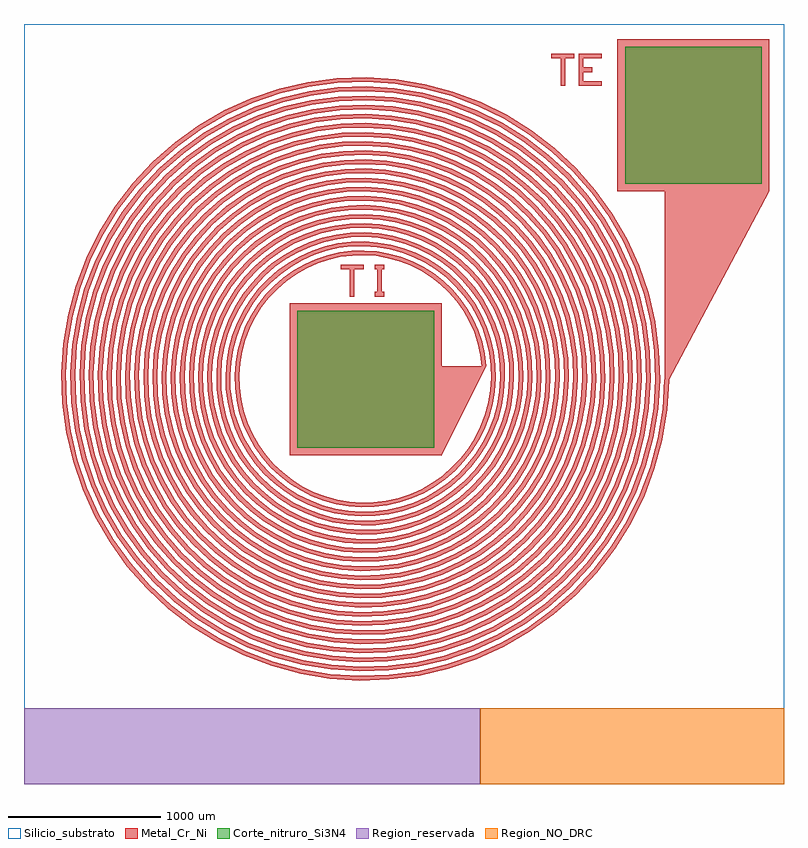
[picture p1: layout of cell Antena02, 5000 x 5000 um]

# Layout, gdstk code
from math import pi, radians
import gdstk
lib = gdstk.Library(unit=1e-6, precision=1e-06)
def R(c, l, rs):  # rectangles x0, y0, x1, y1
    for r in rs: c.add(gdstk.rectangle(r[:2], r[2:], *l))
def P(c, l, *ps):  # polygons
    for p in ps: c.add(gdstk.Polygon(p, *l))
Silicio_substrato = (1, 1)
Region_reservada = (1, 2)
Region_NO_DRC = (1, 3)
Metal_Cr_Ni = (2, 0)
Corte_nitruro_Si3N4 = (3, 0)

spiral_1 = lib.new_cell('Spiral$1')
spiral_1.add(gdstk.FlexPath([(800,0),(797,79),(786,156),(768,233),(743,308),(710,379),(670,448),(623,512),(571,571),(513,625),(450,673),(382,715),(310,749),(236,777),(159,798),(80,810),(0,815),(-80,812),(-159,801),(-237,783),(-313,756),(-386,723),(-456,682),(-521,635),(-582,582),(-637,522),(-685,458),(-728,389),(-763,316),(-792,240),(-812,162),(-825,81),(-830,0),(-827,-81),(-816,-162),(-797,-242),(-770,-319),(-736,-393),(-695,-464),(-647,-531),(-592,-592),(-532,-648),(-466,-698),(-396,-741),(-322,-777),(-244,-806),(-164,-827),(-83,-840),(0,-845),(83,-842),(165,-831),(246,-811),(325,-784),(401,-749),(473,-707),(540,-658),(603,-603),(660,-541),(710,-475),(754,-403),(791,-328),(820,-249),(842,-167),(855,-84),(860,0),(857,84),(845,168),(826,250),(798,331),(763,408),(720,481),(670,550),(613,613),(551,671),(483,723),(410,768),(333,805),(253,835),(170,856),(86,870),(0,875),(-86,872),(-171,860),(-255,840),(-336,812),(-415,776),(-489,732),(-559,681),(-624,624),(-683,560),(-735,491),(-781,417),(-819,339),(-849,258),(-871,173),(-885,87),(-890,0),(-887,-87),(-875,-174),(-854,-259),(-826,-342),(-789,-422),(-745,-498),(-693,-569),(-635,-635),(-570,-695),(-500,-748),(-424,-794),(-345,-833),(-262,-863),(-176,-886),(-89,-900),(0,-905),(89,-902),(177,-889),(264,-869),(348,-840),(429,-802),(506,-757),(578,-705),(645,-645),(706,-579),(760,-508),(807,-431),(847,-351),(878,-266),(900,-179),(915,-90),(920,0),(917,90),(904,180),(883,268),(853,354),(816,436),(770,514),(716,588),(656,656),(589,718),(516,773),(439,820),(356,860),(271,892),(182,915),(92,930),(0,935),(-92,931),(-183,919),(-272,897),(-359,867),(-443,829),(-523,782),(-597,728),(-666,666),(-729,599),(-785,525),(-834,446),(-874,362),(-906,275),(-930,185),(-944,93),(-950,0),(-946,-93),(-934,-186),(-912,-277),(-881,-365),(-842,-450),(-795,-531),(-739,-607),(-677,-677),(-608,-741),(-533,-798),(-453,-847),(-368,-888),(-279,-921),(-188,-945),(-94,-959),(0,-965),(95,-961),(189,-948),(281,-926),(371,-895),(457,-855),(539,-807),(616,-751),(688,-688),(752,-618),(810,-541),(860,-460),(902,-374),(935,-284),(959,-191),(974,-96),(980,0),(976,96),(963,192),(940,285),(909,376),(868,464),(820,548),(763,626),(698,698),(627,764),(550,823),(467,873),(379,916),(288,949),(194,974),(97,989),(0,995),(-98,991),(-194,978),(-290,955),(-382,923),(-471,882),(-556,832),(-635,774),(-709,709),(-776,637),(-835,558),(-887,474),(-930,385),(-964,292),(-989,197),(-1004,99),(-1010,0),(-1006,-99),(-992,-197),(-969,-294),(-937,-388),(-895,-478),(-844,-564),(-786,-645),(-719,-719),(-646,-787),(-566,-848),(-481,-900),(-391,-944),(-297,-978),(-200,-1003),(-100,-1019),(0,-1025),(101,-1021),(200,-1007),(298,-984),(394,-950),(485,-908),(573,-857),(654,-797),(730,-730),(799,-656),(860,-575),(913,-488),(957,-397),(993,-301),(1018,-203),(1034,-102),(1040,0),(1036,102),(1022,203),(998,303),(964,399),(921,492),(869,581),(809,664),(741,741),(665,810),(583,873),(495,926),(402,971),(305,1007),(205,1033),(103,1049),(0,1055),(-104,1051),(-206,1037),(-307,1012),(-405,978),(-500,935),(-589,882),(-673,821),(-751,751),(-822,675),(-885,591),(-940,502),(-985,408),(-1021,310),(-1048,208),(-1064,105),(-1070,0),(-1066,-105),(-1051,-209),(-1027,-311),(-992,-411),(-948,-507),(-894,-598),(-832,-683),(-762,-762),(-684,-834),(-600,-897),(-509,-953),(-414,-999),(-314,-1036),(-211,-1062),(-106,-1079),(0,-1085),(106,-1081),(212,-1066),(316,-1041),(417,-1006),(514,-961),(606,-907),(692,-844),(773,-773),(845,-694),(910,-608),(966,-516),(1013,-420),(1050,-318),(1077,-214),(1094,-108),(1100,0),(1096,108),(1081,215),(1055,320),(1020,422),(974,521),(919,614),(855,702),(783,783),(703,857),(616,922),(523,979),(425,1027),(323,1064),(217,1092),(109,1109),(0,1115),(-109,1111),(-218,1095),(-324,1070),(-428,1034),(-528,987),(-623,932),(-712,867),(-794,794),(-868,713),(-935,625),(-992,530),(-1041,431),(-1079,327),(-1106,220),(-1124,111),(-1130,0),(-1125,-111),(-1110,-221),(-1084,-329),(-1047,-434),(-1001,-535),(-944,-631),(-879,-721),(-804,-804),(-722,-880),(-633,-947),(-538,-1006),(-437,-1054),(-332,-1093),(-223,-1121),(-112,-1139),(0,-1145),(112,-1140),(224,-1125),(333,-1098),(440,-1061),(542,-1014),(639,-957),(731,-890),(815,-815),(892,-732),(960,-641),(1019,-545),(1068,-442),(1107,-336),(1136,-226),(1153,-114),(1160,0),(1155,114),(1140,227),(1113,338),(1075,445),(1027,549),(969,648),(902,740),(826,826),(741,903),(650,972),(552,1032),(448,1082),(340,1122),(229,1151),(115,1168),(0,1175),(-115,1170),(-230,1154),(-342,1127),(-451,1089),(-556,1040),(-656,982),(-750,913),(-836,836),(-915,751),(-985,658),(-1045,559),(-1096,454),(-1136,345),(-1165,232),(-1183,117),(-1190,0),(-1185,-117),(-1169,-233),(-1141,-346),(-1103,-457),(-1054,-563),(-994,-664),(-925,-759),(-847,-847),(-760,-926),(-666,-997),(-566,-1059),(-460,-1110),(-349,-1150),(-235,-1180),(-118,-1198),(0,-1205),(118,-1200),(235,-1184),(351,-1156),(463,-1117),(570,-1067),(673,-1007),(769,-937),(857,-857),(938,-770),(1010,-675),(1072,-573),(1124,-465),(1165,-353),(1195,-238),(1213,-119),(1220,0),(1215,120),(1198,238),(1170,355),(1131,468),(1080,577),(1019,681),(948,778),(868,868),(779,950),(683,1022),(580,1085),(471,1138),(358,1179),(241,1209),(121,1228),(0,1235),(-121,1230),(-241,1213),(-359,1185),(-474,1144),(-584,1093),(-689,1032),(-788,960),(-879,879),(-961,789),(-1035,691),(-1098,587),(-1151,477),(-1193,362),(-1224,243),(-1243,122),(-1250,0),(-1245,-123),(-1228,-244),(-1199,-364),(-1158,-480),(-1107,-591),(-1044,-698),(-971,-797),(-889,-889),(-798,-973),(-700,-1047),(-594,-1111),(-483,-1165),(-366,-1208),(-246,-1239),(-124,-1258),(0,-1265),(124,-1260),(247,-1243),(368,-1213),(486,-1172),(599,-1120),(706,-1056),(807,-983),(900,-900),(984,-808),(1060,-708),(1125,-601),(1179,-488),(1222,-371),(1254,-249),(1273,-125),(1280,0),(1275,126),(1257,250),(1228,372),(1186,491),(1133,606),(1069,714),(995,816),(910,910),(817,996),(716,1072),(608,1138),(494,1193),(375,1237),(252,1268),(127,1288),(0,1295),(-127,1290),(-253,1272),(-377,1242),(-497,1200),(-613,1146),(-723,1081),(-826,1006),(-921,921),(-1008,827),(-1085,725),(-1151,615),(-1207,500),(-1251,379),(-1283,255),(-1303,128),(-1310,0),(-1305,-128),(-1287,-256),(-1256,-381),(-1214,-503),(-1159,-620),(-1094,-731),(-1018,-835),(-932,-932),(-836,-1019),(-733,-1097),(-622,-1164),(-506,-1221),(-384,-1265),(-258,-1298),(-130,-1318),(0,-1325),(130,-1320),(259,-1301),(385,-1271),(508,-1228),(627,-1173),(739,-1106),(845,-1029),(942,-942),(1031,-846),(1109,-741),(1178,-629),(1235,-511),(1280,-388),(1312,-261),(1333,-131),(1340,0),(1334,131),(1316,262),(1285,390),(1241,514),(1186,634),(1119,748),(1041,854),(953,953),(855,1042),(750,1122),(637,1191),(517,1248),(393,1294),(264,1327),(133,1348),(0,1355),(-133,1349),(-265,1331),(-394,1299),(-520,1255),(-641,1199),(-756,1131),(-864,1053),(-963,963),(-1054,865),(-1134,758),(-1204,644),(-1262,523),(-1308,397),(-1342,267),(-1362,134),(-1370,0),(-1364,-134),(-1346,-268),(-1314,-399),(-1269,-526),(-1212,-648),(-1144,-764),(-1064,-873),(-974,-974),(-874,-1066),(-766,-1147),(-651,-1217),(-529,-1276),(-401,-1323),(-270,-1357),(-136,-1377),(0,-1385),(136,-1379),(271,-1360),(403,-1328),(531,-1283),(655,-1226),(773,-1156),(883,-1076),(985,-985),(1077,-884),(1159,-775),(1231,-658),(1290,-534),(1337,-406),(1371,-273),(1392,-137),(1400,0),(1394,137),(1375,273),(1342,407),(1297,537),(1239,662),(1169,781),(1087,892),(995,995),(894,1089),(783,1172),(665,1244),(540,1304),(410,1351),(276,1386),(139,1407),(0,1415),(-139,1409),(-276,1390),(-412,1357),(-543,1311),(-669,1252),(-789,1181),(-902,1099),(-1006,1006),(-1100,903),(-1184,791),(-1257,672),(-1318,546),(-1366,414),(-1401,279),(-1422,140),(-1430,0),(-1424,-140),(-1404,-279),(-1371,-416),(-1325,-549),(-1265,-676),(-1194,-798),(-1110,-911),(-1016,-1016),(-913,-1112),(-800,-1197),(-679,-1270),(-552,-1332),(-419,-1380),(-282,-1415),(-142,-1437),(0,-1445),(142,-1439),(282,-1419),(420,-1385),(554,-1338),(683,-1279),(806,-1206),(921,-1122),(1027,-1027),(1124,-922),(1209,-808),(1283,-686),(1345,-557),(1394,-423),(1430,-284),(1452,-143),(1460,0),(1454,143),(1434,285),(1400,425),(1352,560),(1292,690),(1219,814),(1134,930),(1038,1038),(932,1135),(816,1222),(693,1297),(563,1359),(427,1409),(287,1445),(144,1467),(0,1475),(-145,1469),(-288,1448),(-429,1414),(-566,1366),(-698,1305),(-823,1231),(-940,1145),(-1048,1048),(-1147,941),(-1234,825),(-1310,700),(-1373,569),(-1423,432),(-1460,290),(-1482,146),(-1490,0),(-1484,-146),(-1463,-291),(-1429,-433),(-1380,-572),(-1318,-705),(-1244,-831),(-1157,-949),(-1059,-1059),(-951,-1158),(-833,-1247),(-707,-1323),(-575,-1387),(-436,-1438),(-293,-1474),(-147,-1497),(0,-1505),(148,-1499),(294,-1478),(438,-1443),(577,-1394),(712,-1331),(839,-1256),(959,-1168),(1069,-1069),(1170,-960),(1259,-841),(1336,-714),(1401,-580),(1452,-440),(1489,-296),(1512,-149),(1520,0),(1514,149),(1493,297),(1457,442),(1408,583),(1345,719),(1269,848),(1180,968),(1080,1080),(970,1181),(850,1272),(721,1350),(586,1415),(445,1466),(299,1504),(150,1527),(0,1535),(-151,1529),(-300,1507),(-446,1472),(-589,1422),(-726,1358),(-856,1281),(-978,1192),(-1091,1091),(-1193,979),(-1284,858),(-1363,728),(-1429,592),(-1481,449),(-1518,302),(-1542,152),(-1550,0),(-1543,-152),(-1522,-303),(-1486,-451),(-1435,-595),(-1371,-733),(-1293,-864),(-1203,-987),(-1101,-1101),(-989,-1205),(-866,-1297),(-736,-1376),(-597,-1442),(-453,-1495),(-305,-1533),(-153,-1557),(0,-1565),(153,-1558),(306,-1537),(455,-1500),(600,-1449),(740,-1384),(873,-1306),(997,-1215),(1112,-1112),(1216,-998),(1309,-875),(1389,-743),(1456,-603),(1509,-458),(1548,-308),(1571,-155),(1580,0),(1573,155),(1551,309),(1515,459),(1463,606),(1398,747),(1318,881),(1226,1007),(1123,1123),(1008,1228),(883,1322),(750,1403),(609,1470),(462,1524),(311,1563),(156,1586),(0,1595),(-156,1588),(-312,1566),(-464,1529),(-612,1477),(-754,1411),(-889,1331),(-1016,1238),(-1133,1133),(-1239,1017),(-1334,891),(-1416,757),(-1484,615),(-1538,467),(-1577,314),(-1601,158),(-1610,0),(-1603,-158),(-1581,-314),(-1543,-468),(-1491,-618),(-1424,-761),(-1343,-898),(-1250,-1026),(-1144,-1144),(-1027,-1251),(-900,-1346),(-764,-1429),(-620,-1498),(-471,-1552),(-317,-1592),(-159,-1616),(0,-1625),(159,-1618),(317,-1596),(473,-1558),(623,-1505),(768,-1437),(906,-1356),(1035,-1261),(1154,-1154),(1263,-1036),(1359,-908),(1442,-771),(1512,-626),(1567,-475),(1607,-320),(1631,-161),(1640,0),(1633,161),(1610,320),(1572,477),(1519,629),(1450,775),(1368,914),(1273,1045),(1165,1165),(1046,1274),(916,1371),(778,1455),(632,1526),(480,1581),(323,1621),(162,1646),(0,1655),(-162,1648),(-323,1625),(-481,1586),(-635,1532),(-782,1464),(-923,1381),(-1054,1284),(-1176,1176),(-1286,1055),(-1384,925),(-1469,785),(-1539,638),(-1595,484),(-1636,325),(-1661,164),(-1670,0),(-1663,-164),(-1640,-326),(-1601,-486),(-1546,-641),(-1477,-789),(-1393,-931),(-1296,-1064),(-1186,-1186),(-1065,-1297),(-933,-1396),(-792,-1482),(-643,-1553),(-488,-1610),(-328,-1651),(-165,-1676),(0,-1685),(165,-1678),(329,-1654),(490,-1615),(646,-1560),(797,-1490),(939,-1406),(1073,-1308),(1197,-1197),(1309,-1074),(1409,-941),(1495,-799),(1567,-649),(1624,-493),(1665,-331),(1691,-167),(1700,0),(1693,167),(1669,332),(1629,494),(1574,652),(1503,804),(1418,948),(1319,1083),(1207,1207),(1084,1321),(950,1421),(806,1508),(655,1581),(497,1638),(334,1680),(168,1706),(0,1715),(-168,1708),(-335,1684),(-499,1644),(-658,1588),(-811,1517),(-956,1431),(-1092,1331),(-1218,1218),(-1332,1093),(-1434,958),(-1522,813),(-1595,661),(-1653,501),(-1695,337),(-1721,169),(-1730,0),(-1723,-170),(-1699,-338),(-1658,-503),(-1602,-663),(-1530,-818),(-1443,-964),(-1342,-1102),(-1229,-1229),(-1103,-1344),(-966,-1446),(-820,-1535),(-666,-1609),(-506,-1667),(-340,-1710),(-171,-1736),(0,-1745),(171,-1738),(341,-1713),(507,-1673),(669,-1616),(825,-1543),(973,-1456),(1111,-1354),(1239,-1239),(1355,-1112),(1459,-975),(1548,-827),(1623,-672),(1682,-510),(1724,-343),(1751,-172),(1760,0),(1752,173),(1728,344),(1687,512),(1629,675),(1556,832),(1468,981),(1366,1121),(1250,1250),(1122,1367),(983,1471),(835,1561),(678,1636),(514,1696),(346,1739),(174,1766),(0,1775),(-174,1767),(-347,1743),(-516,1701),(-681,1643),(-839,1570),(-989,1481),(-1130,1377),(-1260,1260),(-1379,1131),(-1484,991),(-1575,842),(-1650,684),(-1710,519),(-1754,349),(-1780,175),(-1790,0),(-1782,-176),(-1757,-350),(-1716,-520),(-1657,-686),(-1583,-846),(-1493,-998),(-1389,-1140),(-1271,-1271),(-1141,-1390),(-1000,-1496),(-849,-1588),(-689,-1664),(-523,-1725),(-352,-1768),(-177,-1795),(0,-1805),(177,-1797),(353,-1772),(525,-1730),(692,-1671),(853,-1596),(1006,-1505),(1149,-1400),(1282,-1282),(1402,-1150),(1509,-1008),(1601,-856),(1678,-695),(1739,-528),(1783,-355),(1810,-178),(1820,0),(1812,178),(1787,355),(1744,529),(1685,698),(1609,860),(1518,1014),(1412,1159),(1292,1292),(1160,1413),(1016,1521),(863,1614),(701,1692),(532,1753),(358,1798),(180,1825),(0,1835),(-180,1827),(-358,1802),(-533,1759),(-704,1699),(-867,1622),(-1023,1530),(-1168,1424),(-1303,1303),(-1425,1169),(-1534,1025),(-1627,870),(-1706,707),(-1768,536),(-1813,361),(-1840,181),(-1850,0),(-1842,-181),(-1816,-361),(-1773,-538),(-1713,-709),(-1636,-874),(-1543,-1031),(-1435,-1178),(-1313,-1313),(-1179,-1437),(-1033,-1546),(-877,-1641),(-712,-1720),(-541,-1782),(-363,-1827),(-183,-1855),(0,-1865),(183,-1857),(364,-1831),(542,-1787),(715,-1727),(881,-1649),(1039,-1555),(1187,-1447),(1324,-1324),(1448,-1188),(1558,-1041),(1654,-884),(1733,-718),(1796,-545),(1842,-366),(1870,-184),(1880,0),(1872,184),(1846,367),(1802,547),(1740,721),(1662,888),(1568,1048),(1458,1197),(1335,1335),(1198,1460),(1050,1571),(891,1667),(724,1747),(549,1811),(369,1857),(186,1885),(0,1895),(-186,1887),(-370,1860),(-551,1816),(-727,1754),(-896,1675),(-1056,1580),(-1206,1470),(-1345,1345),(-1471,1208),(-1583,1058),(-1680,898),(-1761,729),(-1825,554),(-1871,372),(-1900,187),(-1910,0),(-1902,-187),(-1875,-373),(-1830,-555),(-1768,-732),(-1689,-903),(-1593,-1064),(-1482,-1216),(-1356,-1356),(-1217,-1483),(-1066,-1596),(-905,-1694),(-735,-1775),(-558,-1839),(-375,-1886),(-189,-1915),(0,-1925),(189,-1917),(376,-1890),(560,-1845),(738,-1782),(910,-1702),(1073,-1605),(1225,-1493),(1366,-1366),(1495,-1227),(1608,-1075),(1707,-912),(1789,-741),(1854,-562),(1901,-378),(1930,-190),(1940,0),(1932,190),(1905,379),(1859,564),(1796,744),(1715,917),(1618,1081),(1505,1235),(1377,1377),(1236,1506),(1083,1621),(919,1720),(747,1803),(567,1868),(381,1916),(192,1945),(0,1955),(-192,1947),(-382,1919),(-568,1874),(-750,1810),(-924,1728),(-1089,1630),(-1244,1516),(-1388,1388),(-1518,1246),(-1633,1091),(-1733,926),(-1817,752),(-1882,571),(-1930,384),(-1960,193),(-1970,0),(-1961,-193),(-1934,-385),(-1888,-573),(-1824,-755),(-1742,-931),(-1643,-1098),(-1528,-1254),(-1398,-1398),(-1255,-1529),(-1100,-1646),(-934,-1746),(-758,-1830),(-575,-1897),(-387,-1945),(-194,-1975),(0,-1985),(195,-1976),(388,-1949),(577,-1902),(761,-1837),(938,-1755),(1106,-1655),(1263,-1539),(1409,-1409),(1541,-1265),(1658,-1108),(1760,-941),(1844,-764),(1911,-580),(1960,-390),(1989,-196)], 30, ends="flush", simple_path=True, layer=2, datatype=0))  # Metal_Cr_Ni

chip_plantilla5x5mm_1 = lib.new_cell('Chip_Plantilla5x5mm$1')
R(chip_plantilla5x5mm_1, Silicio_substrato, [(0,0,5000,5000)])
R(chip_plantilla5x5mm_1, Region_reservada, [(0,0,3000,500)])
R(chip_plantilla5x5mm_1, Region_NO_DRC, [(3000,0,5000,500)])

text_3 = lib.new_cell('TEXT$3')
P(text_3, Metal_Cr_Ni, [(60,0),(60,180),(0,180),(0,210),(150,210),(150,180),(90,180),(90,0)],
  [(180,0),(180,210),(330,210),(330,180),(210,180),(210,120),(270,120),(270,90),(210,90),(210,30),(330,30),(330,0)])

text = lib.new_cell('TEXT')
P(text, Metal_Cr_Ni, [(60,0),(60,180),(0,180),(0,210),(150,210),(150,180),(90,180),(90,0)],
  [(225,0),(225,30),(240,30),(240,180),(225,180),(225,210),(285,210),(285,180),(270,180),(270,30),(285,30),(285,0)])

antena02 = lib.new_cell('Antena02')
R(antena02, Metal_Cr_Ni, [(3904,3900,4904,4900)])
P(antena02, Metal_Cr_Ni, [(4243,2656),(4214,2658),(4214,3900),(4904,3900)],
  [(2749,2161),(2749,2162),(1749,2162),(1749,3162),(2749,3162),(2749,2749),(3042,2752),(2749,2162)])
R(antena02, Corte_nitruro_Si3N4, [(1799,2212,2699,3112), (3954,3950,4854,4850)])
antena02.add(gdstk.Reference(spiral_1, (2230,2680), rotation=radians(5)))
antena02.add(gdstk.Reference(spiral_1, (2230,2680), rotation=radians(5)))
antena02.add(gdstk.Reference(chip_plantilla5x5mm_1, (0,0)))
antena02.add(gdstk.Reference(text_3, (3470,4594)))
antena02.add(gdstk.Reference(text, (2084,3207)))

lib.write_gds('Antena02.gds')
